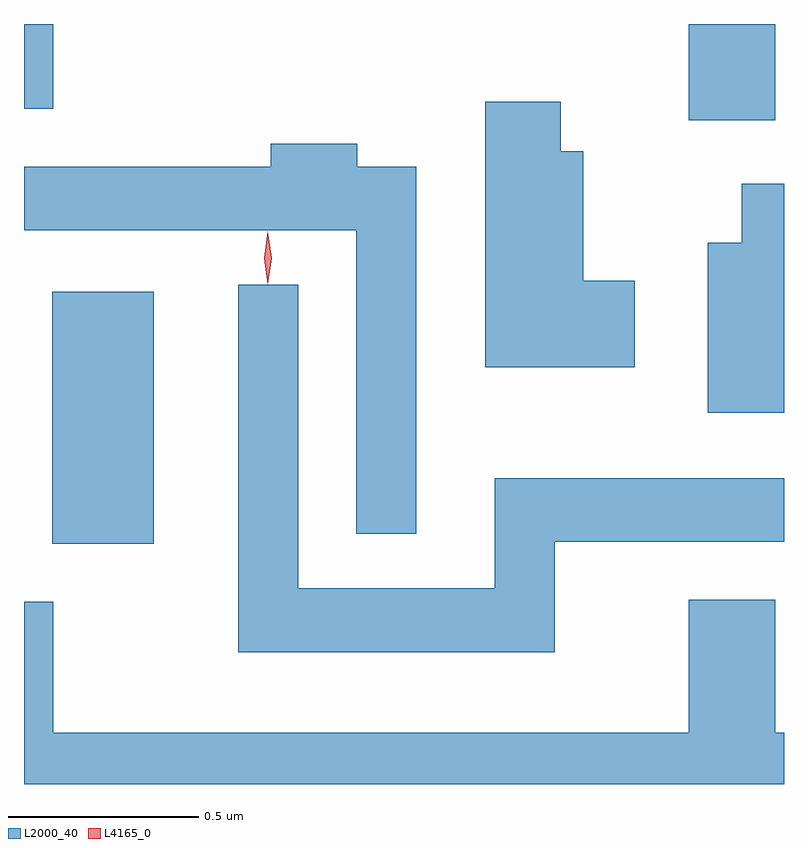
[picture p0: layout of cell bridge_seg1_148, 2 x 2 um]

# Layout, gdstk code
import gdstk
lib = gdstk.Library(unit=1e-6, precision=1e-09)
def R(c, l, rs):  # rectangles x0, y0, x1, y1
    for r in rs: c.add(gdstk.rectangle(r[:2], r[2:], *l))
def P(c, l, *ps):  # polygons
    for p in ps: c.add(gdstk.Polygon(p, *l))
L2000_40 = (2000, 40)
L4165_0 = (4165, 0)

bridge_seg1_148 = lib.new_cell('bridge_seg1_148')
R(bridge_seg1_148, L2000_40, [(857.586,911.441,857.854,912.104), (859.261,912.556,859.489,912.809), (857.512,912.586,857.589,912.809)])
P(bridge_seg1_148, L2000_40, [(859.119,912.134),(858.984,912.134),(858.984,912.474),(858.924,912.474),(858.924,912.604),(858.726,912.604),(858.726,911.906),(859.119,911.906)],
  [(858.544,912.434),(858.389,912.434),(858.389,912.494),(858.161,912.494),(858.161,912.434),(857.512,912.434),(857.512,912.266),(858.386,912.266),(858.386,911.468),(858.544,911.468)],
  [(859.512,912.389),(859.401,912.389),(859.401,912.234),(859.311,912.234),(859.311,911.786),(859.512,911.786)],
  [(858.909,911.446),(859.512,911.446),(859.512,911.614),(858.751,911.614),(858.751,911.324),(858.234,911.324),(858.234,912.123),(858.076,912.123),(858.076,911.156),(858.909,911.156)],
  [(859.512,910.944),(859.489,910.944),(859.489,911.294),(859.261,911.294),(859.261,910.944),(857.589,910.944),(857.589,911.289),(857.512,911.289),(857.512,910.809),(859.512,910.809)])
P(bridge_seg1_148, L4165_0, [(858.153,912.124),(858.144,912.193),(858.153,912.262),(858.154,912.263),(858.154,912.262),(858.164,912.193),(858.154,912.124),(858.154,912.124)],
  [(858.154,912.127),(858.153,912.128),(858.144,912.194),(858.153,912.26),(858.154,912.26),(858.154,912.26),(858.164,912.194),(858.154,912.128)])

lib.write_gds('bridge_seg1_148.gds')
